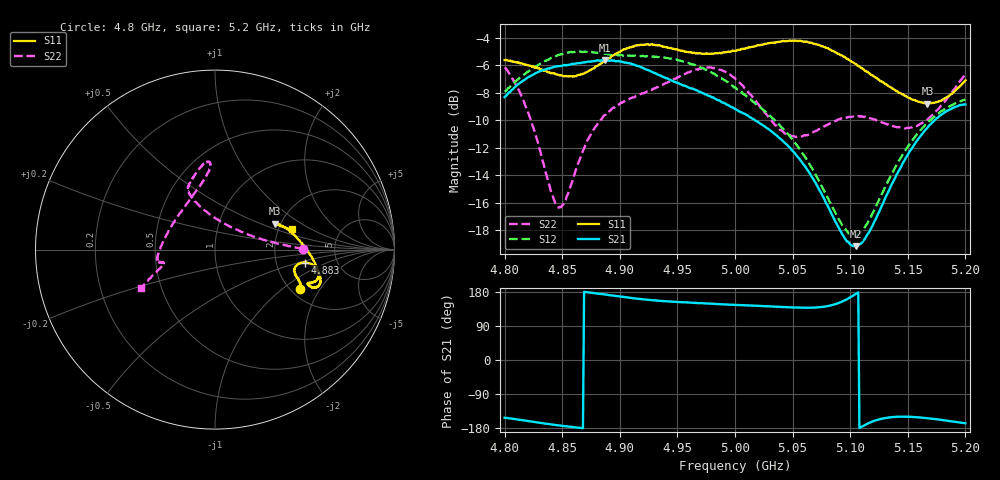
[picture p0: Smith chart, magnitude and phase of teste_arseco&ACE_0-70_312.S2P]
! Network Analyzer HP8722D
! Hewlett-Packard
! Data name: Linha & Wilkinson
! Saver's name: Rodrigo Anjos
! Comments: Teste da utilização de aquisição
! continua pelo VNA HP8722D
! Time and date: 8/5/2025 15:21
!  Frequency  S11  S21  S12  S22
# HZ  S  MA R 50
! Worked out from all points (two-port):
!   401 points, 4.8 GHz to 5.2 GHz, reference 50 ohm
!   highest |S21| = -5.63 dB at 4.887 GHz (marker M1); lowest = -19.2 dB at 5.105 GHz (marker M2)
!   |S21| within 3 dB of the highest: start of sweep to 4.988 GHz
!   lowest |S11| = -8.8 dB at 5.167 GHz (marker M3), VSWR 2.14, Z = 93.4 + j31 ohm
!   |S11| at or under -10 dB: nowhere
!   |S22| runs from -16.4 to -6.2 dB; largest |S21 - S12| = 1.1
!   S11 on the Smith chart (normalised r, x): 4.8 GHz: 2.23, -1.36; 4.883 GHz: 2.92, -0.57; 5.2 GHz: 2.36, +0.66
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4.8e9  0.5229 -25.0  0.3834 -152.4  0.4015 7.0  0.4906 0.4
4.818e9  0.5034 -20.9  0.445 -160.1  0.4663 4.5  0.3576 5.3
4.84e9  0.4682 -17.5  0.4895 -169.9  0.5315 0.9  0.1755 34.6
4.846e9  0.4633 -16.3  0.4969 -172.3  0.5448 -0.3  0.1537 55.8
4.853e9  0.457 -14.8  0.4997 -174.8  0.5537 -1.5  0.1618 80.8
4.867e9  0.4634 -10.8  0.511 -179.6  0.5591 -3.5  0.2387 106.9
4.883e9  0.5061 -8.2  0.5187 174.5  0.5537 -4.5  0.3147 114.0
4.887e9  0.5217 -8.2  0.5227 172.8  0.5522 -4.3  0.3299 114.4
4.913e9  0.5895 -12.1  0.5019 162.4  0.543 -3.5  0.3838 112.3
4.934e9  0.5913 -16.9  0.4611 156.3  0.5367 -4.3  0.4192 107.0
4.974e9  0.5505 -20.0  0.3925 149.6  0.4827 -7.8  0.4899 95.2
5e9  0.5649 -21.0  0.347 145.6  0.4169 -7.7  0.4486 94.2
5.041e9  0.6123 -19.2  0.267 140.0  0.2965 0.0  0.289 128.3
5.067e9  0.6033 -14.1  0.1958 138.2  0.2111 8.4  0.2843 165.4
5.093e9  0.5434 -4.7  0.1217 154.4  0.1313 33.6  0.3201 -173.8
5.105e9  0.5052 1.1  0.1101 174.8  0.1206 56.9  0.3266 -169.7
5.115e9  0.4738 6.3  0.1213 -168.1  0.1334 75.5  0.3213 -168.0
5.134e9  0.4185 15.8  0.1767 -151.5  0.1937 94.1  0.3037 -166.5
5.15e9  0.3821 21.5  0.2364 -149.8  0.253 98.4  0.2964 -164.9
5.167e9  0.3634 23.3  0.2964 -153.6  0.3093 99.1  0.3176 -161.9
5.182e9  0.3789 21.0  0.3377 -159.2  0.3469 99.1  0.3688 -157.8
5.2e9  0.4413 14.7  0.3605 -167.0  0.3764 99.6  0.4648 -152.4
